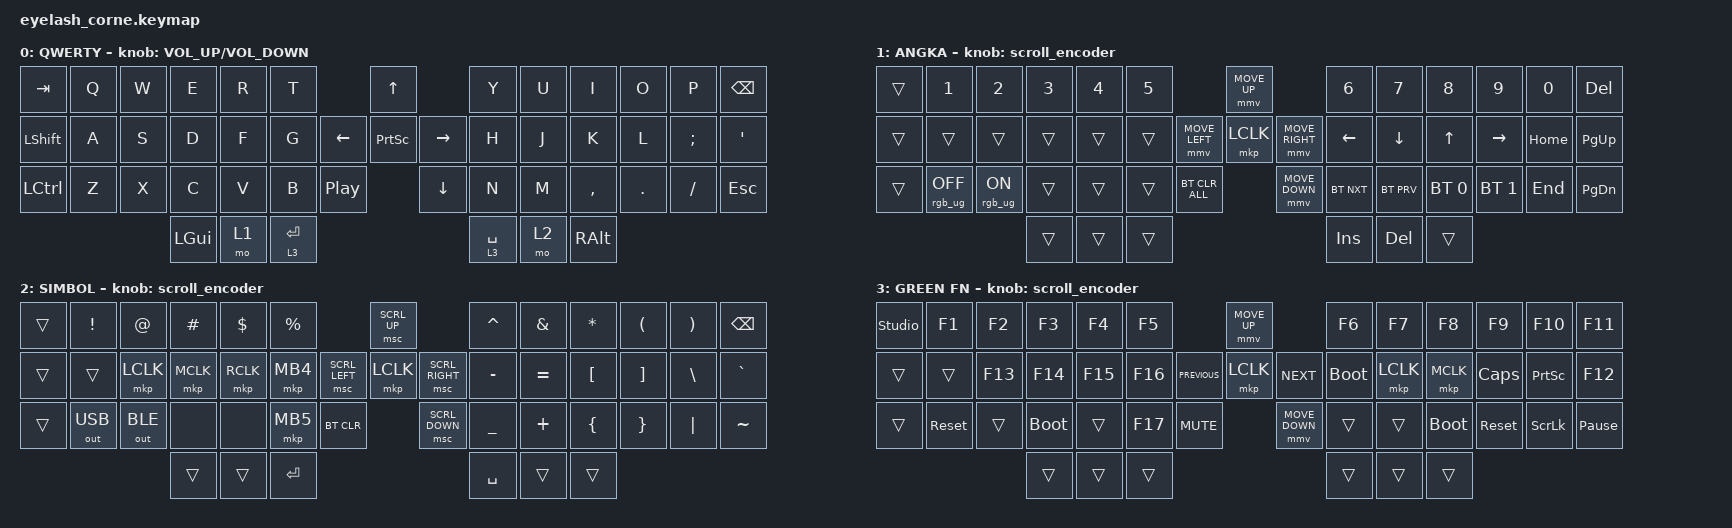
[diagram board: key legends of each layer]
#include <dt-bindings/zmk/mouse.h>
#include <input/processors.dtsi>
#include <behaviors.dtsi>
#include <dt-bindings/zmk/bt.h>
#include <dt-bindings/zmk/keys.h>
#include <dt-bindings/zmk/outputs.h>
#include <dt-bindings/zmk/pointing.h>
#include <dt-bindings/zmk/rgb.h>

/*

   &mmv_input_listener {
       input-processors = <&zip_xy_scaler 2 1>;
   };

   &msc_input_listener {
       input-processors = <&zip_xy_scaler 2 1>;
   };

 */

#define ZMK_MOUSE_DEFAULT_MOVE_VAL 1200  // 600
#define ZMK_MOUSE_DEFAULT_SCRL_VAL 20    // 10

/ {
    behaviors {
        td0: td0 {
            compatible = "zmk,behavior-tap-dance";
            display-name = "Shift/Caps Lock Tap Dance";
            #binding-cells = <0>;
            bindings = <&kp LEFT_SHIFT>, <&kp CAPS>;
        };
    };

    rgb_encoder: rgb_encoder {
        compatible = "zmk,behavior-sensor-rotate";
        #sensor-binding-cells = <0>;
        bindings = <&rgb_ug RGB_BRI>, <&rgb_ug RGB_BRD>;
    };

    scroll_encoder: scroll_encoder {
        compatible = "zmk,behavior-sensor-rotate";
        #sensor-binding-cells = <0>;
        bindings = <&msc SCRL_DOWN>, <&msc SCRL_UP>;

        tap-ms = <30>;
    };

    combos {
        compatible = "zmk,combos";

        cabron {
            bindings = <&macron>;
            key-positions = <28 13 0>;
            layers = <0>;
        };
    };

    macros {
        macron: macron {
            compatible = "zmk,behavior-macro";
            #binding-cells = <0>;
            bindings = <&kp N2 &kp N6 &kp A &kp P &kp R &kp I &kp L &kp L &kp RET>;
            label = "MACRON";
        };
    };

    keymap {
        compatible = "zmk,keymap";

        default_layer {
            display-name = "QWERTY";
            bindings = <
&kp TAB         &kp Q  &kp W  &kp E     &kp R  &kp T                                      &kp UP                      &kp Y        &kp U  &kp I      &kp O    &kp P     &kp BSPC
&kp LEFT_SHIFT  &kp A  &kp S  &kp D     &kp F  &kp G                            &kp LEFT  &kp PRINTSCREEN  &kp RIGHT  &kp H        &kp J  &kp K      &kp L    &kp SEMI  &kp APOSTROPHE
&kp LCTRL       &kp Z  &kp X  &kp C     &kp V  &kp B        &kp C_PLAY_PAUSE              &kp DOWN                    &kp N        &kp M  &kp COMMA  &kp DOT  &kp FSLH  &kp ESC
                              &kp LGUI  &mo 1  &lt 3 ENTER                                                            &lt 3 SPACE  &mo 2  &kp RALT
            >;

            sensor-bindings = <&inc_dec_kp C_VOLUME_UP C_VOLUME_DOWN>;
        };

        kiri {
            display-name = "ANGKA";
            bindings = <
&trans  &kp N1           &kp N2          &kp N3  &kp N4  &kp N5                                    &mmv MOVE_UP                     &kp N6      &kp N7      &kp N8        &kp N9        &kp N0    &kp DELETE
&trans  &trans           &trans          &trans  &trans  &trans                    &mmv MOVE_LEFT  &mkp LCLK       &mmv MOVE_RIGHT  &kp LEFT    &kp DOWN    &kp UP        &kp RIGHT     &kp HOME  &kp PG_UP
&trans  &rgb_ug RGB_OFF  &rgb_ug RGB_ON  &trans  &trans  &trans  &bt BT_CLR_ALL                    &mmv MOVE_DOWN                   &bt BT_NXT  &bt BT_PRV  &bt BT_SEL 0  &bt BT_SEL 1  &kp END   &kp PG_DN
                                         &trans  &trans  &trans                                                                     &kp INS     &kp DEL     &trans
            >;

            sensor-bindings = <&scroll_encoder>;
        };

        kanan {
            display-name = "SIMBOL";
            bindings = <
&trans  &kp EXCL      &kp AT        &kp HASH   &kp DLLR   &kp PRCNT                                &msc SCRL_UP                     &kp CARET  &kp AMPS   &kp ASTRK  &kp LPAR  &kp RPAR  &kp BACKSPACE
&trans  &trans        &mkp LCLK     &mkp MCLK  &mkp RCLK  &mkp MB4                 &msc SCRL_LEFT  &mkp LCLK       &msc SCRL_RIGHT  &kp MINUS  &kp EQUAL  &kp LBKT   &kp RBKT  &kp BSLH  &kp GRAVE
&trans  &out OUT_USB  &out OUT_BLE  &none      &none      &mkp MB5   &bt BT_CLR                    &msc SCRL_DOWN                   &kp UNDER  &kp PLUS   &kp LBRC   &kp RBRC  &kp PIPE  &kp TILDE
                                    &trans     &trans     &kp ENTER                                                                 &kp SPACE  &trans     &trans
            >;

            sensor-bindings = <&scroll_encoder>;
        };

        bersama {
            display-name = "GREEN FN";
            bindings = <
&studio_unlock  &kp F1      &kp F2   &kp F3       &kp F4   &kp F5                                 &mmv MOVE_UP                &kp F6       &kp F7     &kp F8       &kp F9        &kp F10          &kp F11
&trans          &trans      &kp F13  &kp F14      &kp F15  &kp F16                &kp C_PREVIOUS  &mkp LCLK       &kp C_NEXT  &bootloader  &mkp LCLK  &mkp MCLK    &kp CAPSLOCK  &kp PRINTSCREEN  &kp F12
&trans          &sys_reset  &trans   &bootloader  &trans   &kp F17  &kp C_MUTE                    &mmv MOVE_DOWN              &trans       &trans     &bootloader  &sys_reset    &kp SCROLLLOCK   &kp PAUSE_BREAK
                                     &trans       &trans   &trans                                                             &trans       &trans     &trans
            >;

            sensor-bindings = <&scroll_encoder>;
        };
    };
};
